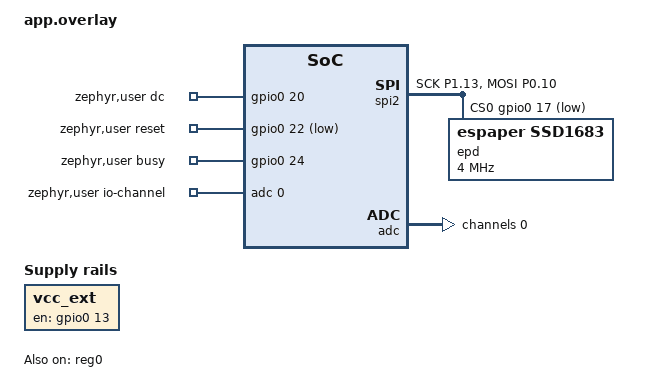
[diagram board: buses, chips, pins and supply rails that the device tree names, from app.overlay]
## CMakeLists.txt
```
cmake_minimum_required(VERSION 3.20.0)

find_package(Zephyr REQUIRED HINTS $ENV{ZEPHYR_BASE})
project(espaper_nrf)

target_sources(app PRIVATE
  src/main.cpp
  src/ble.c
  src/epd.c
  src/miniz/miniz.c
  src/image_receiver.cpp
  src/crc32.cpp
)
target_include_directories(app PRIVATE src src/miniz)

# miniz is here for tinfl only; everything else is compiled out.
target_compile_definitions(app PRIVATE
  MINIZ_NO_DEFLATE_APIS
  MINIZ_NO_ARCHIVE_APIS
  MINIZ_NO_ZLIB_APIS
  MINIZ_NO_STDIO
  MINIZ_NO_TIME
  MINIZ_NO_MALLOC
)
```

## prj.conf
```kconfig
CONFIG_CPP=y
CONFIG_STD_CPP17=y
CONFIG_MAIN_STACK_SIZE=4096
# The Adafruit bootloader takes UF2 files; the base board variant does not emit one by itself.
CONFIG_BUILD_OUTPUT_UF2=y

CONFIG_GPIO=y
CONFIG_SPI=y
CONFIG_FLASH=y
CONFIG_REGULATOR=y
# Panel power before the SPI driver (priority 50) drives CS high, and after
# GPIO (40): a line driven high into an unpowered SSD1683 back-powers it.
CONFIG_REGULATOR_FIXED_INIT_PRIORITY=45
# epd.c suspends the SPIM between refreshes, releasing SCK/MOSI with the panel's supply.
CONFIG_PM_DEVICE=y
CONFIG_HWINFO=y
CONFIG_ADC=y

CONFIG_BT=y
CONFIG_BT_PERIPHERAL=y
CONFIG_BT_MAX_CONN=1
CONFIG_BT_DEVICE_NAME="EPaper-BLE"
# ATT MTU = min(BUF_ACL_RX_SIZE - 4, L2CAP_TX_MTU) = 256, what the clients ask for.
CONFIG_BT_L2CAP_TX_MTU=256
CONFIG_BT_BUF_ACL_RX_SIZE=260
CONFIG_BT_BUF_ACL_TX_SIZE=251
CONFIG_BT_CTLR_DATA_LENGTH_MAX=251
# nRF52840 ceiling.
CONFIG_BT_CTLR_TX_PWR_PLUS_8=y

# Release build: no USB. The board's CDC ACM console enables USB at boot, and
# the nRF USB driver then holds the 32 MHz crystal even on battery. debug.conf
# turns it back on for the bench.
CONFIG_BOARD_SERIAL_BACKEND_CDC_ACM=n
CONFIG_USB_DEVICE_STACK_NEXT=n

# This board has the 32 kHz crystal. On one without it bt_enable() never
# returns with XTAL selected; switch back to CONFIG_CLOCK_CONTROL_NRF_K32SRC_RC=y
# then. The crystal removes the RC calibration (HFXO on every 4 s) and lets the
# controller assume 50 ppm instead of 500 for its receive windows.
CONFIG_CLOCK_CONTROL_NRF_K32SRC_XTAL=y
```

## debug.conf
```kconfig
# ./build.sh debug -- console on the USB CDC ACM port. Holds the HFXO on, so not
# for battery measurements.
CONFIG_BOARD_SERIAL_BACKEND_CDC_ACM=y
CONFIG_USB_DEVICE_STACK_NEXT=y
CONFIG_SERIAL=y
CONFIG_CONSOLE=y
CONFIG_UART_CONSOLE=y
```

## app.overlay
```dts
/*
 * Pro Micro nRF52840 (nice!nano v2 pinout) driving the SSD1683 panel.
 *
 *   SCK  P1.13  D15      CS   P0.17  D2      RST  P0.22  D4
 *   MOSI P0.10  D16      DC   P0.20  D3      BUSY P0.24  D5
 *   VCC pin, switched by P0.13
 *
 * None of these are touched by the Adafruit bootloader (LED P0.15, RST P0.18)
 * and the board's own UART pins (P0.06/P0.08) stay free. P0.10 is uart0's RX
 * in the board DTS, hence uart0 off; the console is USB CDC when enabled.
 */

#include <zephyr/dt-bindings/adc/nrf-saadc.h>
#include <zephyr/dt-bindings/regulator/nrf5x.h>

/*
 * Flash, as the Adafruit UF2 bootloader (0.6.0, no SoftDevice) lays it out:
 * MBR at 0, application from 0x1000 (CONFIG_FLASH_LOAD_OFFSET, set by the
 * board), bootloader from 0xF4000. The board's default table is MCUboot's and
 * puts storage at 0xF8000, inside the bootloader, so it is replaced. UF2 blocks
 * above 0xAD000 are refused by that bootloader, which bounds the application.
 */
/ {
	chosen {
		zephyr,code-partition = &code_partition;
	};
};

/delete-node/ &boot_partition;
/delete-node/ &slot0_partition;
/delete-node/ &slot1_partition;
/delete-node/ &storage_partition;

&flash0 {
	partitions {
		code_partition: partition@1000 {
			label = "application";
			reg = <0x00001000 0x000ac000>;
		};

		/* One page holds the "painted" flag; see main.cpp. */
		storage_partition: partition@ec000 {
			label = "storage";
			reg = <0x000ec000 0x00008000>;
		};
	};
};

/ {
	zephyr,user {
		dc-gpios = <&gpio0 20 GPIO_ACTIVE_HIGH>;
		reset-gpios = <&gpio0 22 GPIO_ACTIVE_LOW>;
		busy-gpios = <&gpio0 24 GPIO_ACTIVE_HIGH>;
		io-channels = <&adc 0>;
	};

	/*
	 * The VCC header pin is behind a switch on P0.13; on means the panel has
	 * power. On at boot, then epd.c powers the panel only while painting it;
	 * startup-delay-us is the wait it gives after switching on.
	 */
	vcc_ext: regulator-vcc-ext {
		compatible = "regulator-fixed";
		regulator-name = "vcc-ext";
		enable-gpios = <&gpio0 13 GPIO_ACTIVE_HIGH>;
		regulator-boot-on;
		startup-delay-us = <20000>;
	};
};

&pinctrl {
	spi2_epd_default: spi2_epd_default {
		group1 {
			psels = <NRF_PSEL(SPIM_SCK, 1, 13)>,
				<NRF_PSEL(SPIM_MOSI, 0, 10)>;
		};
	};

	spi2_epd_sleep: spi2_epd_sleep {
		group1 {
			psels = <NRF_PSEL(SPIM_SCK, 1, 13)>,
				<NRF_PSEL(SPIM_MOSI, 0, 10)>;
			low-power-enable;
		};
	};
};

/*
 * EasyDMA SPIM rather than the board's byte-interrupt SPI, so a 15 kB plane is
 * one transfer. Chip select must be declared here as cs-gpios with a child
 * device: Zephyr compiles GPIO chip-select support out entirely unless some SPI
 * controller node carries cs-gpios.
 */
&spi2 {
	compatible = "nordic,nrf-spim";
	status = "okay";
	pinctrl-0 = <&spi2_epd_default>;
	pinctrl-1 = <&spi2_epd_sleep>;
	pinctrl-names = "default", "sleep";
	cs-gpios = <&gpio0 17 GPIO_ACTIVE_LOW>;

	epd: epd@0 {
		compatible = "espaper,ssd1683";
		reg = <0>;
		spi-max-frequency = <4000000>;
	};
};

/*
 * Battery: on nice!nano v2 clones B+ goes straight to VDDH (REG0 makes the
 * 3.3 V), so VDDH/5 against the 0.6 V reference at gain 1/6 (3.6 V full scale)
 * reads it with no external divider.
 */
&adc {
	#address-cells = <1>;
	#size-cells = <0>;
	status = "okay";

	channel@0 {
		reg = <0>;
		zephyr,gain = "ADC_GAIN_1_6";
		zephyr,reference = "ADC_REF_INTERNAL";
		zephyr,acquisition-time = <ADC_ACQ_TIME_DEFAULT>;
		zephyr,input-positive = <NRF_SAADC_VDDHDIV5>;
		zephyr,resolution = <12>;
		zephyr,oversampling = <4>;
	};
};

/*
 * Both DC/DC stages on: REG1 (VDD -> core/radio) roughly halves the radio's
 * battery current, REG0 (VDDH -> VDD) saves another 10-20 % with the battery on
 * VDDH. Each needs its inductor on the board (DCC for REG1, DCCH for REG0);
 * without it the app does not run. Recover with a double-tap on RST (the
 * bootloader runs before this takes effect) and drop the stage that lacks it.
 * Zephyr's soc.c reads these at boot: reg1's mode, reg0's status.
 */
&reg1 {
	regulator-initial-mode = <NRF5X_REG_MODE_DCDC>;
};

&reg0 {
	status = "okay";
};

&uart0 {
	status = "disabled";
};

&i2c0 {
	status = "disabled";
};

&i2c1 {
	status = "disabled";
};

&pwm0 {
	status = "disabled";
};

&ieee802154 {
	status = "disabled";
};
```

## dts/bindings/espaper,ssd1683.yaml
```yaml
description: SSD1683 e-paper controller, driven directly over SPI by the espaper firmware

compatible: "espaper,ssd1683"

include: spi-device.yaml
```

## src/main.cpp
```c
// Battery-powered BLE e-paper display on a Pro Micro nRF52840 driving a 400x300
// SSD1683 panel.
//
// It advertises all the time, slowly, instead of a 2 s burst every 60 s with
// deep sleep in between: the SoftDevice Controller sleeps the CPU and the crystal
// between advert events, so an advert costs only its ~25 uC and the rest is
// System ON idle at a few uA. Continuous 2 s adverts are ~16 uA average, less
// than a 4 s window every minute would cost, and the panel is connectable at
// any moment instead of for 3 % of the time. main() runs once, forever.

#include <zephyr/drivers/flash.h>
#include <zephyr/drivers/hwinfo.h>
#include <zephyr/kernel.h>
#include <zephyr/storage/flash_map.h>
#include <zephyr/sys/printk.h>
#include <nrfx.h>

#include "ble.h"
#include "config.h"
#include "epd.h"
#include "image_receiver.h"

static ImageReceiver s_rx;
static volatile bool s_clearRequested;

// --- the receiver, as seen from the Bluetooth RX thread ----------------------

extern "C" void rx_ctrl(const uint8_t *payload, size_t len)
{
  if (len < 1)
  {
    s_rx.setState(STATE_ERROR, ERR_BAD_LENGTH);
    return;
  }
  switch (payload[0])
  {
    case OP_BEGIN: s_rx.begin(payload, len); break;
    case OP_COMMIT: s_rx.commit(); break;
    case OP_ABORT: s_rx.abort(); break;
    case OP_CLEAR:
      // The panel is only ever touched from the main thread.
      s_rx.abort();
      s_rx.setState(STATE_RENDERING, ERR_NONE);
      s_clearRequested = true;
      break;
    default: s_rx.setState(STATE_ERROR, ERR_BAD_MAGIC); break;
  }
}

extern "C" int rx_data(const uint8_t *payload, size_t len)
{
  return s_rx.data(payload, len) == ERR_NONE ? 0 : -1;
}

extern "C" void rx_status(uint8_t out[6])
{
  const uint32_t received = s_rx.received();
  out[0] = uint8_t(s_rx.state());
  out[1] = uint8_t(s_rx.error());
  out[2] = uint8_t(received & 0xFF);
  out[3] = uint8_t((received >> 8) & 0xFF);
  out[4] = uint8_t((received >> 16) & 0xFF);
  out[5] = uint8_t((received >> 24) & 0xFF);
}

// --- the "painted" flag --------------------------------------------------------

// Whether this device has ever been given an image, so a reset, a reflash or a
// battery swap never repaints the splash over what the panel is showing. One
// word at the start of the storage partition, written once in the device's
// life; the NVS subsystem would be a lot of code for a single bit.
static const uint32_t PAINTED_MAGIC = 0x44544E50;  // "PNTD"
static const struct device *const s_flash = FIXED_PARTITION_DEVICE(storage_partition);
static const off_t s_flagOffset = FIXED_PARTITION_OFFSET(storage_partition);
static bool s_everPainted;

static bool readPainted()
{
  uint32_t value = 0;
  return flash_read(s_flash, s_flagOffset, &value, sizeof(value)) == 0 && value == PAINTED_MAGIC;
}

static void markPainted()
{
  if (s_everPainted)
  {
    return;
  }
  flash_erase(s_flash, s_flagOffset, 4096);  // one nRF52 page
  flash_write(s_flash, s_flagOffset, &PAINTED_MAGIC, sizeof(PAINTED_MAGIC));
  s_everPainted = true;
}

// --- one connection --------------------------------------------------------------

// Returns when the session is over: rendered, cleared, timed out or dropped.
static void serveSession()
{
  while (ble_connected())
  {
    if (s_clearRequested)
    {
      s_clearRequested = false;
      printk("clear\n");
      epd_clear();
      markPainted();  // a deliberate blank must not bring the splash back
      s_rx.setState(STATE_DONE, ERR_NONE);
      ble_publish_status();
      return;
    }

    if (s_rx.complete())
    {
      // The CRC pass, the inflate and the refresh all belong here, never in a
      // GATT callback.
      ble_publish_status();
      const XferError error = s_rx.verify();
      if (error != ERR_NONE)
      {
        printk("verify failed: error %d\n", int(error));
        s_rx.setState(STATE_ERROR, error);
        ble_publish_status();
        continue;  // stay connected so the client can retry with a fresh BEGIN
      }
      printk("rendering %u bytes, %d colours%s\n", unsigned(s_rx.frameLength()),
             s_rx.gray4() ? 4 : 2, s_rx.deflated() ? " (deflate)" : "");
      s_rx.setState(STATE_RENDERING);
      ble_publish_status();
      if (s_rx.gray4())
      {
        epd_render_gray4(s_rx.frame());
      }
      else
      {
        epd_render_1bpp(s_rx.frame(), s_rx.inverted());
      }
      markPainted();
      s_rx.setState(STATE_DONE);
      ble_publish_status();
      printk("rendered\n");
      return;
    }

    // A client that connects and then stalls would otherwise hold the radio on
    // until the battery dies.
    const int64_t idle = k_uptime_get() - ble_last_activity();
    if (idle > SESSION_TIMEOUT_MS)
    {
      printk("session idle in state %d, dropping\n", int(s_rx.state()));
      s_rx.setState(STATE_ERROR, ERR_INCOMPLETE);
      ble_publish_status();
      return;
    }
    ble_wait(uint32_t(SESSION_TIMEOUT_MS - idle));
  }
}

int main()
{
  // Why we are here. Read before anything can reset again: a reset every boot
  // is invisible without it. The bits are Zephyr's RESET_* flags (pin 1,
  // software 2, brownout 4, POR 8, watchdog 16, debug 32, ... lockup 256).
  uint32_t cause = 0;
  hwinfo_get_reset_cause(&cause);
  hwinfo_clear_reset_cause();
  printk("\nboot, reset cause 0x%x, UICR NFCPINS %08x PSELRESET %08x %08x, "
         "advertising every %u-%u ms\n",
         unsigned(cause), unsigned(NRF_UICR->NFCPINS), unsigned(NRF_UICR->PSELRESET[0]),
         unsigned(NRF_UICR->PSELRESET[1]), unsigned(ADV_INTERVAL_MIN * 5 / 8),
         unsigned(ADV_INTERVAL_MAX * 5 / 8));

  s_everPainted = readPainted();
  if (epd_init() != 0)
  {
    printk("epd: bus or pins not ready\n");
  }

  // Geometry and protocol version, so the client need not hardcode them. bpp is
  // the deepest mode accepted, selected per frame by BEGIN's FLAG_GRAY4.
  const uint8_t info[8] = {
      PROTOCOL_VERSION,
      uint8_t(PANEL_WIDTH & 0xFF),
      uint8_t(PANEL_WIDTH >> 8),
      uint8_t(PANEL_HEIGHT & 0xFF),
      uint8_t(PANEL_HEIGHT >> 8),
      2,
      uint8_t(DEEP_SLEEP_SECONDS & 0xFF),
      uint8_t(DEEP_SLEEP_SECONDS >> 8),
  };
  const int err = ble_begin(DEVICE_NAME, ADV_INTERVAL_MIN, ADV_INTERVAL_MAX, info);
  if (err != 0)
  {
    printk("bt_enable failed: %d\n", err);
    return 0;
  }

  if (!s_everPainted)
  {
    // Only ever shown on a device that has not been sent an image yet.
    epd_splash(DEVICE_NAME "\nready\n \nsend an image");
  }

  ble_update_battery();
  int64_t nextBattery = k_uptime_get() + BATTERY_PERIOD_MS;
  while (true)
  {
    s_rx.abort();
    s_clearRequested = false;
    // BT_LE_ADV_OPT_CONN does not restart after a disconnect, hence every loop.
    // A failure here would otherwise be a silent, radio-off "not found".
    const int adv = ble_adv_start();
    if (adv != 0)
    {
      printk("adv start failed: %d\n", adv);
      k_sleep(K_SECONDS(5));
      continue;
    }

    // Only a connection ends the wait; the timeout is the battery's cadence.
    // Never measured mid-session, so a panel refresh does not sag the reading.
    while (!ble_connected())
    {
      const int64_t now = k_uptime_get();
      if (now >= nextBattery)
      {
        ble_update_battery();
        nextBattery = now + BATTERY_PERIOD_MS;
      }
      ble_wait(uint32_t(nextBattery - now));
    }

    serveSession();
    // Give the last status notification time to reach the client before the
    // link goes away.
    k_msleep(NOTIFY_FLUSH_MS);
    ble_disconnect();
    for (int i = 0; i < 20 && ble_connected(); i++)
    {
      ble_wait(100);
    }
    epd_sleep();
  }
  return 0;
}
```

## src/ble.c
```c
#include "ble.h"

#include <string.h>
#include <zephyr/bluetooth/bluetooth.h>
#include <zephyr/bluetooth/conn.h>
#include <zephyr/bluetooth/gatt.h>
#include <zephyr/bluetooth/uuid.h>
#include <zephyr/drivers/adc.h>
#include <zephyr/kernel.h>
#include <zephyr/sys/byteorder.h>

// The same UUIDs as SVC_UUID_IMAGE and friends in config.h. Zephyr's
// static GATT table needs them as numbers, so this is the one place the
// protocol is copied rather than shared; change both.
#define EPAPER_UUID(w16) \
  BT_UUID_128_ENCODE(0x69770000u | (w16), 0xb271, 0x453a, 0xa64d, 0xcb31cec14bee)

static const struct bt_uuid_128 s_svc_uuid = BT_UUID_INIT_128(EPAPER_UUID(0x0000));
#define CHR_CTRL BT_UUID_DECLARE_128(EPAPER_UUID(0x0001))
#define CHR_DATA BT_UUID_DECLARE_128(EPAPER_UUID(0x0002))
#define CHR_STATUS BT_UUID_DECLARE_128(EPAPER_UUID(0x0003))
#define CHR_INFO BT_UUID_DECLARE_128(EPAPER_UUID(0x0004))

static K_SEM_DEFINE(s_event, 0, 1);
static struct bt_conn *s_conn;
static volatile bool s_connected;
static int64_t s_last_activity;
static uint8_t s_info[8];
static struct bt_le_adv_param s_adv_param;
static struct bt_data s_sd[1];

static void touch(void)
{
  s_last_activity = k_uptime_get();
  k_sem_give(&s_event);
}

static ssize_t write_ctrl(struct bt_conn *conn, const struct bt_gatt_attr *attr,
                          const void *buf, uint16_t len, uint16_t offset, uint8_t flags)
{
  if (offset != 0)
  {
    return BT_GATT_ERR(BT_ATT_ERR_INVALID_OFFSET);
  }
  rx_ctrl(buf, len);
  ble_publish_status();
  touch();
  return len;
}

static ssize_t write_data(struct bt_conn *conn, const struct bt_gatt_attr *attr,
                          const void *buf, uint16_t len, uint16_t offset, uint8_t flags)
{
  if (offset != 0)
  {
    return BT_GATT_ERR(BT_ATT_ERR_INVALID_OFFSET);
  }
  if (rx_data(buf, len) != 0)
  {
    // Only report failures; notifying on every chunk would flood the link.
    ble_publish_status();
  }
  touch();
  return len;
}

static ssize_t read_status(struct bt_conn *conn, const struct bt_gatt_attr *attr, void *buf,
                           uint16_t len, uint16_t offset)
{
  uint8_t value[6];
  rx_status(value);
  return bt_gatt_attr_read(conn, attr, buf, len, offset, value, sizeof(value));
}

static ssize_t read_info(struct bt_conn *conn, const struct bt_gatt_attr *attr, void *buf,
                         uint16_t len, uint16_t offset)
{
  return bt_gatt_attr_read(conn, attr, buf, len, offset, s_info, sizeof(s_info));
}

BT_GATT_SERVICE_DEFINE(
    s_svc,
    BT_GATT_PRIMARY_SERVICE(&s_svc_uuid),
    BT_GATT_CHARACTERISTIC(CHR_CTRL, BT_GATT_CHRC_WRITE | BT_GATT_CHRC_WRITE_WITHOUT_RESP,
                           BT_GATT_PERM_WRITE, NULL, write_ctrl, NULL),
    BT_GATT_CHARACTERISTIC(CHR_DATA, BT_GATT_CHRC_WRITE | BT_GATT_CHRC_WRITE_WITHOUT_RESP,
                           BT_GATT_PERM_WRITE, NULL, write_data, NULL),
    BT_GATT_CHARACTERISTIC(CHR_STATUS, BT_GATT_CHRC_READ | BT_GATT_CHRC_NOTIFY, BT_GATT_PERM_READ,
                           read_status, NULL, NULL),
    BT_GATT_CCC(NULL, BT_GATT_PERM_READ | BT_GATT_PERM_WRITE),
    BT_GATT_CHARACTERISTIC(CHR_INFO, BT_GATT_CHRC_READ, BT_GATT_PERM_READ, read_info, NULL, NULL));

// Index of the STATUS value attribute in the table above: service, then two
// attributes per characteristic.
#define STATUS_ATTR (&s_svc.attrs[6])

static void on_connected(struct bt_conn *conn, uint8_t err)
{
  if (err != 0)
  {
    return;
  }
  s_conn = bt_conn_ref(conn);
  s_connected = true;
  touch();
}

static void on_disconnected(struct bt_conn *conn, uint8_t reason)
{
  if (s_conn != NULL)
  {
    bt_conn_unref(s_conn);
    s_conn = NULL;
  }
  s_connected = false;
  k_sem_give(&s_event);
}

BT_CONN_CB_DEFINE(s_conn_cbs) = {
    .connected = on_connected,
    .disconnected = on_disconnected,
};

// Manufacturer data: company 0xFFFF (testing), magic "EP", advert version 1,
// then battery mV (u16). Change custom_components/espaper/epaper.py and
// tools/epaper_push.py with it.
static uint8_t s_mfg[7] = {0xFF, 0xFF, 'E', 'P', 1};

// Flags, the 128-bit UUID and the manufacturer data take 30 of the advert's 31
// bytes, so the name goes into the scan response.
static const struct bt_data s_ad[] = {
    BT_DATA_BYTES(BT_DATA_FLAGS, BT_LE_AD_GENERAL | BT_LE_AD_NO_BREDR),
    BT_DATA_BYTES(BT_DATA_UUID128_ALL, EPAPER_UUID(0x0000)),
    BT_DATA(BT_DATA_MANUFACTURER_DATA, s_mfg, sizeof(s_mfg)),
};

static const struct adc_dt_spec s_vbat = ADC_DT_SPEC_GET_BY_IDX(DT_PATH(zephyr_user), 0);

int ble_begin(const char *name, uint16_t adv_min, uint16_t adv_max, const uint8_t info[8])
{
  memcpy(s_info, info, sizeof(s_info));
  s_adv_param = (struct bt_le_adv_param)BT_LE_ADV_PARAM_INIT(BT_LE_ADV_OPT_CONN, adv_min, adv_max, NULL);
  s_sd[0].type = BT_DATA_NAME_COMPLETE;
  s_sd[0].data_len = strlen(name);
  s_sd[0].data = (const uint8_t *)name;
  return bt_enable(NULL);
}

int ble_adv_start(void)
{
  touch();
  return bt_le_adv_start(&s_adv_param, s_ad, ARRAY_SIZE(s_ad), s_sd, ARRAY_SIZE(s_sd));
}

void ble_update_battery(void)
{
  static bool s_ready;
  static unsigned s_reads;
  if (!s_ready)
  {
    s_ready = adc_channel_setup_dt(&s_vbat) == 0;
  }
  int16_t raw = 0;
  // Offset calibration on the first read and every 10th after: it drifts with
  // temperature, and once a minute would be wasted.
  struct adc_sequence seq = {
      .buffer = &raw, .buffer_size = sizeof(raw), .calibrate = s_reads++ % 10 == 0};
  adc_sequence_init_dt(&s_vbat, &seq);
  if (!s_ready || adc_read_dt(&s_vbat, &seq) != 0)
  {
    return;
  }
  int32_t mv = raw;
  adc_raw_to_millivolts_dt(&s_vbat, &mv);
  sys_put_le16((uint16_t)CLAMP(mv * 5, 0, UINT16_MAX), &s_mfg[5]);  // VDDH/5
  // Not advertising (connected, or not started yet) fails harmlessly: the next
  // ble_adv_start() carries the new value.
  bt_le_adv_update_data(s_ad, ARRAY_SIZE(s_ad), s_sd, ARRAY_SIZE(s_sd));
}

bool ble_connected(void)
{
  return s_connected;
}

void ble_disconnect(void)
{
  if (s_conn != NULL)
  {
    bt_conn_disconnect(s_conn, BT_HCI_ERR_REMOTE_USER_TERM_CONN);
  }
}

bool ble_wait(uint32_t timeout_ms)
{
  return k_sem_take(&s_event, K_MSEC(timeout_ms)) == 0;
}

int64_t ble_last_activity(void)
{
  return s_last_activity;
}

void ble_publish_status(void)
{
  if (s_conn == NULL)
  {
    return;
  }
  uint8_t value[6];
  rx_status(value);
  // -ENOTCONN if the client never subscribed; it can still read STATUS.
  bt_gatt_notify(s_conn, STATUS_ATTR, value, sizeof(value));
}
```

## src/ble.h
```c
// Vendor GATT server for image push, Zephyr side.
//
// GATT callbacks run on the Bluetooth RX thread and must not block, so they do
// nothing heavier than handing the bytes to the receiver and setting a flag.
// The main thread waits on ble_wait() and does the CRC pass, the panel refresh
// and the sleeping.

#pragma once

#include <stdbool.h>
#include <stddef.h>
#include <stdint.h>

#ifdef __cplusplus
extern "C" {
#endif

// Brings the stack up. `info` is the 8-byte INFO value, copied. Returns 0 or a
// negative errno from bt_enable().
int ble_begin(const char *name, uint16_t adv_min, uint16_t adv_max, const uint8_t info[8]);

// Starts advertising until a connection; BT_LE_ADV_OPT_CONN does not restart
// it after a disconnect, so the caller does. Returns bt_le_adv_start()'s errno.
int ble_adv_start(void);

// Reads the battery (VDDH/5 on the SAADC) into the advert's manufacturer data.
// Main thread only.
void ble_update_battery(void);

bool ble_connected(void);
void ble_disconnect(void);

// Blocks until a GATT write or connection event, or the timeout. Returns true
// if an event arrived.
bool ble_wait(uint32_t timeout_ms);

// k_uptime of the last GATT write or connection, for the session watchdog.
int64_t ble_last_activity(void);

// Pushes the receiver's state to STATUS and notifies a subscribed client.
void ble_publish_status(void);

// Implemented by main.cpp around the shared ImageReceiver; called from the
// Bluetooth RX thread. rx_data returns non-zero on failure so the caller can
// notify only then.
void rx_ctrl(const uint8_t *payload, size_t len);
int rx_data(const uint8_t *payload, size_t len);
void rx_status(uint8_t out[6]);

#ifdef __cplusplus
}
#endif
```

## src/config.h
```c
// Compile-time configuration for the BLE e-paper display.

#pragma once

#include <stddef.h>
#include <stdint.h>

// Panel wiring is in app.overlay.

// ---------------------------------------------------------------------------
// Panel geometry. The GDEY042T81 is natively 400x300 landscape, so a packed
// 1bpp frame is exactly 50 bytes per row x 300 rows = 15000 bytes.
// ---------------------------------------------------------------------------
static const uint16_t PANEL_WIDTH  = 400;
static const uint16_t PANEL_HEIGHT = 300;
static const uint16_t PANEL_STRIDE = (PANEL_WIDTH + 7) / 8;
static const uint32_t PANEL_FRAME_BYTES = uint32_t(PANEL_STRIDE) * PANEL_HEIGHT;

// The same panel in 4-level greyscale: 2 bits per pixel, so 100 bytes per row
// and 30000 for a frame. Whether a panel can do this at all depends on its
// film, not the controller; see the "Grayscale" section of README.md.
static const uint16_t PANEL_STRIDE_GRAY4 = PANEL_WIDTH / 4;
static const uint32_t PANEL_FRAME_BYTES_GRAY4 = uint32_t(PANEL_STRIDE_GRAY4) * PANEL_HEIGHT;

// ---------------------------------------------------------------------------
// Advertising. Continuous, connectable, every 2 s (0.625 ms units):
// the SoftDevice Controller sleeps the CPU and the crystal between events, so
// only the events cost; see the top of main.cpp.
// ---------------------------------------------------------------------------
static const uint16_t ADV_INTERVAL_MIN = 3200;
static const uint16_t ADV_INTERVAL_MAX = 3200;

// Reported in INFO as sleep_seconds, the client's hint for how long the panel
// may go unheard. There is no sleep any more; the field is kept for the wire.
static const uint32_t DEEP_SLEEP_SECONDS  = 60;

// How often the battery is measured into the advert, while idle.
static const uint32_t BATTERY_PERIOD_MS = 60000;

// A client that connects and then stalls would otherwise hold the session
// open forever.
static const uint32_t SESSION_TIMEOUT_MS = 60000;

// Grace period after the final status notification so it reaches the client
// before we tear the link down.
static const uint32_t NOTIFY_FLUSH_MS = 300;

// ---------------------------------------------------------------------------
// GAP / GATT identity. Vendor-specific 128-bit UUIDs; no manufacturer data.
// ---------------------------------------------------------------------------
#define DEVICE_NAME "EPaper-BLE"

#define SVC_UUID_IMAGE  "69770000-b271-453a-a64d-cb31cec14bee"
#define CHR_UUID_CTRL   "69770001-b271-453a-a64d-cb31cec14bee"
#define CHR_UUID_DATA   "69770002-b271-453a-a64d-cb31cec14bee"
#define CHR_UUID_STATUS "69770003-b271-453a-a64d-cb31cec14bee"
#define CHR_UUID_INFO   "69770004-b271-453a-a64d-cb31cec14bee"

// ---------------------------------------------------------------------------
// Wire protocol. Kept in one place so the Python client and the firmware
// cannot drift apart.
// ---------------------------------------------------------------------------
static const uint8_t PROTOCOL_VERSION = 1;

// BEGIN header magic, "EPD1".
static const uint8_t PROTO_MAGIC[4] = {'E', 'P', 'D', '1'};

enum CtrlOpcode : uint8_t
{
  OP_BEGIN  = 0x01,
  OP_COMMIT = 0x02,
  OP_ABORT  = 0x03,
  OP_CLEAR  = 0x04,
};

// BEGIN payload: opcode | magic[4] | ver | flags | w u16 | h u16 | len u32 | crc32 u32
static const size_t BEGIN_PAYLOAD_LEN = 19;

// DATA payload: offset u32 | bytes...
static const size_t DATA_HEADER_LEN = 4;

// BEGIN flags.
static const uint8_t FLAG_INVERTED = 1 << 0;  // a set bit means white, not black
static const uint8_t FLAG_GRAY4    = 1 << 1;  // 4 colours (2bpp), not 2 (1bpp)
// DATA carries a zlib stream of the frame rather than the frame itself, so the
// BEGIN len and crc32 describe the compressed bytes. The uncompressed size is
// whatever FLAG_GRAY4 implies, so the header needs no second length field.
static const uint8_t FLAG_DEFLATE  = 1 << 2;

enum XferState : uint8_t
{
  STATE_IDLE      = 0,
  STATE_RECEIVING = 1,
  STATE_VERIFYING = 2,
  STATE_RENDERING = 3,
  STATE_DONE      = 4,
  STATE_ERROR     = 5,
};

enum XferError : uint8_t
{
  ERR_NONE          = 0,
  ERR_BAD_MAGIC     = 1,
  ERR_BAD_VERSION   = 2,
  ERR_BAD_GEOMETRY  = 3,
  ERR_BAD_LENGTH    = 4,
  ERR_CRC_MISMATCH  = 5,
  ERR_OVERFLOW      = 6,
  ERR_NO_SESSION    = 7,
  ERR_NO_MEMORY     = 8,
  ERR_INCOMPLETE    = 9,
  ERR_INFLATE       = 10,
};
```

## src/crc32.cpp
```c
#include "crc32.h"

// Nibble-at-a-time table: 64 bytes of flash instead of the usual 1 kB, and
// still fast enough to verify a 15 kB frame in a couple of milliseconds.
static const uint32_t kCrcTable[16] = {
    0x00000000, 0x1DB71064, 0x3B6E20C8, 0x26D930AC,
    0x76DC4190, 0x6B6B51F4, 0x4DB26158, 0x5005713C,
    0xEDB88320, 0xF00F9344, 0xD6D6A3E8, 0xCB61B38C,
    0x9B64C2B0, 0x86D3D2D4, 0xA00AE278, 0xBDBDF21C,
};

uint32_t crc32Update(uint32_t crc, const uint8_t *data, size_t len)
{
  crc = ~crc;
  while (len--)
  {
    crc ^= *data++;
    crc = (crc >> 4) ^ kCrcTable[crc & 0x0F];
    crc = (crc >> 4) ^ kCrcTable[crc & 0x0F];
  }
  return ~crc;
}
```

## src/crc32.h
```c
// Reflected CRC-32 (poly 0xEDB88320), byte-for-byte compatible with Python's
// zlib.crc32 so the client can compute the expected value with the standard
// library.

#pragma once

#include <stddef.h>
#include <stdint.h>

// Running CRC over a stream. Seed the first call with 0.
uint32_t crc32Update(uint32_t crc, const uint8_t *data, size_t len);

// One-shot convenience wrapper.
inline uint32_t crc32(const uint8_t *data, size_t len)
{
  return crc32Update(0, data, len);
}
```

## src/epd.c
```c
#include "epd.h"

#include <string.h>
#include <zephyr/drivers/gpio.h>
#include <zephyr/drivers/regulator.h>
#include <zephyr/drivers/spi.h>
#include <zephyr/kernel.h>
#include <zephyr/pm/device.h>
#include <zephyr/sys/printk.h>

#include "epd_gray_lut.h"
#include "font5x7.h"

#define PANEL_WIDTH 400
#define PANEL_HEIGHT 300
#define FRAME_1BPP (PANEL_WIDTH / 8 * PANEL_HEIGHT)   // 15000
#define FRAME_2BPP (PANEL_WIDTH / 4 * PANEL_HEIGHT)   // 30000

#define BUSY_TIMEOUT_MS 10000

static const struct spi_dt_spec s_spi =
    SPI_DT_SPEC_GET(DT_NODELABEL(epd), SPI_OP_MODE_MASTER | SPI_WORD_SET(8) | SPI_TRANSFER_MSB);
static const struct gpio_dt_spec s_dc = GPIO_DT_SPEC_GET(DT_PATH(zephyr_user), dc_gpios);
static const struct gpio_dt_spec s_rst = GPIO_DT_SPEC_GET(DT_PATH(zephyr_user), reset_gpios);
static const struct gpio_dt_spec s_busy = GPIO_DT_SPEC_GET(DT_PATH(zephyr_user), busy_gpios);
static const struct device *const s_vcc = DEVICE_DT_GET(DT_NODELABEL(vcc_ext));
#define VCC_STARTUP_MS (DT_PROP(DT_NODELABEL(vcc_ext), startup_delay_us) / 1000)

// One 1bpp plane, in RAM because EasyDMA cannot read flash. It is the splash
// framebuffer, the inverted copy of a 1bpp frame, and each 2bpp plane in turn.
static uint8_t s_plane[FRAME_1BPP];
static bool s_awake;

// --- bus ------------------------------------------------------------------

static void xfer(const uint8_t *buf, size_t len)
{
  const struct spi_buf b = {.buf = (void *)buf, .len = len};
  const struct spi_buf_set set = {.buffers = &b, .count = 1};
  spi_write_dt(&s_spi, &set);  // CS is held for the whole buffer
}

static void cmd(uint8_t c)
{
  gpio_pin_set_dt(&s_dc, 0);
  xfer(&c, 1);
}

static void data(const uint8_t *buf, size_t len)
{
  gpio_pin_set_dt(&s_dc, 1);
  xfer(buf, len);
}

// Command followed by up to four data bytes.
static void cmdn(uint8_t c, const uint8_t *d, size_t n)
{
  uint8_t copy[4];
  memcpy(copy, d, n);
  cmd(c);
  data(copy, n);
}
#define CMD(c, ...) cmdn((c), (const uint8_t[]){__VA_ARGS__}, sizeof((const uint8_t[]){__VA_ARGS__}))

// BUSY is high while the controller is working. Bounded: a panel that never
// releases BUSY must not hold a battery-powered board awake.
static bool wait_busy(void)
{
  const int64_t start = k_uptime_get();
  while (gpio_pin_get_dt(&s_busy) > 0)
  {
    if (k_uptime_get() - start > BUSY_TIMEOUT_MS)
    {
      printk("epd: BUSY timeout\n");
      return false;
    }
    k_msleep(10);
  }
  return true;
}

// --- power ------------------------------------------------------------------

// The panel is unpowered between refreshes: SSD1683 datasheet fig. 9-1 ends a
// refresh with "turn off VCI supply" once BUSY is low, and every paint already
// starts from a hardware reset and a full init. The order is the trap. Its
// inputs are rated -0.5 .. VDDIO+0.5 V, so with VCI off any line held high
// feeds the controller through its ESD diodes (the WeAct module has only 100R
// in series). So: supply first, then drive the lines; let every line go, then
// cut the supply. Released lines are inputs with the buffer disconnected, which
// neither drives the panel nor leaks on the nRF side.
static void power_on(void)
{
  regulator_enable(s_vcc);
  k_msleep(VCC_STARTUP_MS);  // datasheet: 10 ms after VCI
  gpio_pin_configure_dt(&s_spi.config.cs.gpio, GPIO_OUTPUT_INACTIVE);
  gpio_pin_configure_dt(&s_dc, GPIO_OUTPUT_INACTIVE);
  gpio_pin_configure_dt(&s_rst, GPIO_OUTPUT_INACTIVE);  // inactive = not in reset
  gpio_pin_configure_dt(&s_busy, GPIO_INPUT);
  pm_device_action_run(s_spi.bus, PM_DEVICE_ACTION_RESUME);  // SCK, MOSI back
}

static void power_off(void)
{
  // The sleep pinctrl state (low-power-enable) releases SCK and MOSI.
  pm_device_action_run(s_spi.bus, PM_DEVICE_ACTION_SUSPEND);
  gpio_pin_configure_dt(&s_spi.config.cs.gpio, GPIO_DISCONNECTED);
  gpio_pin_configure_dt(&s_dc, GPIO_DISCONNECTED);
  gpio_pin_configure_dt(&s_rst, GPIO_DISCONNECTED);
  gpio_pin_configure_dt(&s_busy, GPIO_DISCONNECTED);
  regulator_disable(s_vcc);
}

// Power, then hardware reset then software reset, waiting out BUSY after each
// -- the two waits GxEPD2 skips and the nRF sketch this was checked against
// does not.
static void wake(void)
{
  power_on();
  gpio_pin_set_dt(&s_rst, 0);
  k_msleep(10);
  gpio_pin_set_dt(&s_rst, 1);
  k_msleep(10);
  gpio_pin_set_dt(&s_rst, 0);
  k_msleep(10);
  wait_busy();
  cmd(0x12);  // SWRESET
  k_msleep(10);
  wait_busy();
  s_awake = true;
}

// Data entry X+ Y+, full window, counters at the origin. Repeated before every
// plane because the counters advance as the plane is written.
static void set_ram_area(void)
{
  CMD(0x11, 0x03);
  CMD(0x44, 0x00, 0x31);              // RAM X range, in bytes: 0..49
  CMD(0x45, 0x00, 0x00, 0x2B, 0x01);  // RAM Y range: 0..299
  CMD(0x4E, 0x00);
  CMD(0x4F, 0x00, 0x00);
}

// --- 1bpp, the controller's own waveform -----------------------------------

// Streams one value into both RAM planes, without a second frame buffer.
static void fill_planes(uint8_t value)
{
  uint8_t chunk[256];
  memset(chunk, value, sizeof(chunk));
  const uint8_t planes[2] = {0x26, 0x24};
  for (int p = 0; p < 2; p++)
  {
    set_ram_area();
    cmd(planes[p]);
    for (uint32_t sent = 0; sent < FRAME_1BPP; sent += sizeof(chunk))
    {
      data(chunk, MIN(sizeof(chunk), FRAME_1BPP - sent));
    }
  }
}

// GxEPD2's _Update_Full: the controller's own waveform, then power off.
static void refresh_full(void)
{
  CMD(0x21, 0x40, 0x00);  // bypass RED
  CMD(0x22, 0xF7);
  cmd(0x20);
  wait_busy();
}

// GxEPD2's GDEY042T81 init. Both RAM planes are written, which is what a clean
// full refresh needs to avoid ghosting.
//
// The clear to white first is not redundant: GxEPD2 runs clearScreen() before
// the first image write after init(), and the original firmware re-initialised
// it on every wake, so the panel always flashed to white and then to the image.
// Same look here.
static void render_planes_1bpp(void)
{
  CMD(0x01, 0x2B, 0x01, 0x00);  // MUX 300
  CMD(0x3C, 0x01);              // border waveform
  CMD(0x18, 0x80);              // internal temperature sensor
  fill_planes(0xFF);
  refresh_full();
  set_ram_area();
  cmd(0x26);
  data(s_plane, FRAME_1BPP);
  set_ram_area();
  cmd(0x24);
  data(s_plane, FRAME_1BPP);
  refresh_full();
  epd_sleep();
}

void epd_render_1bpp(const uint8_t *frame, bool inverted)
{
  wake();
  // The controller's convention is 1 = white; ours is 1 = black unless the
  // sender flagged the image as inverted. Safe when frame == s_plane.
  for (uint32_t i = 0; i < FRAME_1BPP; i++)
  {
    s_plane[i] = inverted ? frame[i] : (uint8_t)~frame[i];
  }
  render_planes_1bpp();
}

void epd_clear(void)
{
  wake();
  CMD(0x01, 0x2B, 0x01, 0x00);
  CMD(0x3C, 0x01);
  CMD(0x18, 0x80);
  fill_planes(0xFF);
  refresh_full();
  epd_sleep();
}

// --- 2bpp, Waveshare's greyscale waveform ------------------------------------

// Waveshare's epd4in2_V2 greyscale init. Loading the LUT replaces the
// panel's built-in monochrome waveform, so greyscale has no temperature
// compensation.
static void init_gray4(void)
{
  uint8_t lut[sizeof(LUT_4GRAY)];
  memcpy(lut, LUT_4GRAY, sizeof(lut));  // EasyDMA needs it in RAM

  CMD(0x21, 0x00, 0x00);              // display update control
  CMD(0x3C, 0x03);                    // border waveform
  CMD(0x0C, 0x8B, 0x9C, 0xA4, 0x0F);  // booster soft start
  cmd(0x32);                          // waveform LUT
  data(lut, 227);
  cmdn(0x3F, lut + 227, 1);
  cmdn(0x03, lut + 228, 1);  // gate voltage
  cmdn(0x04, lut + 229, 3);  // source voltage
  cmdn(0x2C, lut + 232, 1);  // VCOM
  set_ram_area();
  wait_busy();
}

// Packs one 1bpp plane out of the 2bpp frame into s_plane. `high` picks which
// bit of each pixel's level goes into it. The low bit feeds 0x24 and the high
// bit 0x26, which looks backwards and is the one thing Waveshare's own two
// demos disagree about: their Arduino epd4in2_V2 sketch maps the middle codes
// the other way round, their Raspberry Pi EPD_4in2_V2.c the way it is here.
// Only this way are the levels monotonic -- measured on the panel, the other
// mapping paints light grey where dark belongs. Do not "fix" it back.
static void pack_plane(const uint8_t *frame, bool high)
{
  for (uint32_t i = 0, o = 0; i < FRAME_2BPP; i += 2, o++)
  {
    // Inverted on the way out: the controller reads 1 as white, we store 1 as
    // ink, exactly as the 1bpp path does.
    const uint8_t a = (uint8_t)~frame[i];
    const uint8_t b = (uint8_t)~frame[i + 1];
    s_plane[o] = high ? (uint8_t)((grayHighNibble(a) << 4) | grayHighNibble(b))
                      : (uint8_t)((grayLowNibble(a) << 4) | grayLowNibble(b));
  }
}

void epd_render_gray4(const uint8_t *frame)
{
  wake();
  init_gray4();

  cmd(0x24);
  pack_plane(frame, false);
  data(s_plane, FRAME_1BPP);

  set_ram_area();
  cmd(0x26);
  pack_plane(frame, true);
  data(s_plane, FRAME_1BPP);

  CMD(0x22, 0xCF);  // greyscale update sequence
  cmd(0x20);
  wait_busy();
  epd_sleep();
}

// --- splash -------------------------------------------------------------------

#define SCALE 2
#define CHAR_W (6 * SCALE)
#define LINE_H (8 * SCALE + 6)

static void draw_char(int x0, int y0, char c)
{
  if (c < FONT5X7_FIRST || c > FONT5X7_LAST)
  {
    return;
  }
  const uint8_t *glyph = FONT5X7[c - FONT5X7_FIRST];
  for (int col = 0; col < 5; col++)
  {
    for (int row = 0; row < 7; row++)
    {
      if (!((glyph[col] >> row) & 1))
      {
        continue;
      }
      for (int dy = 0; dy < SCALE; dy++)
      {
        for (int dx = 0; dx < SCALE; dx++)
        {
          const int x = x0 + col * SCALE + dx;
          const int y = y0 + row * SCALE + dy;
          if (x >= 0 && x < PANEL_WIDTH && y >= 0 && y < PANEL_HEIGHT)
          {
            s_plane[y * (PANEL_WIDTH / 8) + x / 8] |= (uint8_t)(0x80 >> (x % 8));
          }
        }
      }
    }
  }
}

void epd_splash(const char *text)
{
  int lines = 1;
  for (const char *p = text; *p; p++)
  {
    lines += *p == '\n';
  }
  memset(s_plane, 0x00, FRAME_1BPP);  // 1 = ink, inverted by epd_render_1bpp

  int y = (PANEL_HEIGHT - lines * LINE_H) / 2;
  const char *line = text;
  while (true)
  {
    const char *end = strchr(line, '\n');
    const int len = end ? (int)(end - line) : (int)strlen(line);
    int x = (PANEL_WIDTH - len * CHAR_W) / 2;
    for (int i = 0; i < len; i++, x += CHAR_W)
    {
      draw_char(x, y, line[i]);
    }
    if (!end)
    {
      break;
    }
    line = end + 1;
    y += LINE_H;
  }
  epd_render_1bpp(s_plane, false);
}

// --- sleep ------------------------------------------------------------------

void epd_sleep(void)
{
  if (!s_awake)
  {
    return;
  }
  // Deep sleep, then the supply. Both refresh sequences above already end with
  // analog and clock off, so this is belt and braces before VCI goes.
  CMD(0x10, 0x01);
  k_msleep(100);
  power_off();
  s_awake = false;
}

// The regulator is boot-on, so the panel is powered while the SPI driver drives
// CS high at init; this is the first point that can release the lines and cut it.
int epd_init(void)
{
  if (!spi_is_ready_dt(&s_spi) || !device_is_ready(s_vcc) || !gpio_is_ready_dt(&s_dc) ||
      !gpio_is_ready_dt(&s_rst) || !gpio_is_ready_dt(&s_busy))
  {
    return -ENODEV;
  }
  power_off();
  return 0;
}
```

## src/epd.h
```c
// Everything that touches the panel: an SSD1683 over SPI, driven directly for
// both bit depths. The panel is unpowered except while it is being painted:
// every render powers it, paints, and cuts its supply again.

#pragma once

#include <stdbool.h>
#include <stdint.h>

#ifdef __cplusplus
extern "C" {
#endif

// Releases the lines and cuts the panel's supply. Returns a negative errno if
// the bus, a pin or the regulator is missing.
int epd_init(void);

// Paints a packed 1bpp full-panel frame (MSB first, 50 bytes per row).
// `inverted` selects the bit convention: false means a set bit is black.
void epd_render_1bpp(const uint8_t *frame, bool inverted);

// Paints a packed 2bpp frame, levels 0 white .. 3 black, 100 bytes per row.
// About four seconds: the greyscale waveform is longer than the monochrome one.
void epd_render_gray4(const uint8_t *frame);

// Blanks the panel to white.
void epd_clear(void);

// Centred multi-line text at 2x the 5x7 font; '\n' starts a new line.
void epd_splash(const char *text);

// Deep sleep and power off, if the panel was woken. The image is retained
// without power.
void epd_sleep(void);

#ifdef __cplusplus
}
#endif
```

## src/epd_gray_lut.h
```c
// The panel-specific part of 4-level greyscale: the waveform Waveshare ships
// for this panel and the plane packing that goes with it. Plain C on purpose:
// epd.c includes it, and so does the host-side test. Which plane takes
// which bit was settled by measurement (see README.md, "Grayscale"); do not
// change one side without the other.

#pragma once

#include <stdint.h>

// Greyscale waveform, from Waveshare's own epd4in2_V2 demo (LUT_ALL[233]).
// The first 227 bytes are the waveform itself; the tail carries the gate and
// source voltages and the VCOM that go with it. Loading this replaces the
// panel's built-in monochrome waveform, which is why greyscale has no
// temperature compensation.
static const uint8_t LUT_4GRAY[233] = {
    0x01, 0x0A, 0x1B, 0x0F, 0x03, 0x01, 0x01,
    0x05, 0x0A, 0x01, 0x0A, 0x01, 0x01, 0x01,
    0x05, 0x08, 0x03, 0x02, 0x04, 0x01, 0x01,
    0x01, 0x04, 0x04, 0x02, 0x00, 0x01, 0x01,
    0x01, 0x00, 0x00, 0x00, 0x00, 0x01, 0x01,
    0x01, 0x00, 0x00, 0x00, 0x00, 0x01, 0x01,
    0x01, 0x0A, 0x1B, 0x0F, 0x03, 0x01, 0x01,
    0x05, 0x4A, 0x01, 0x8A, 0x01, 0x01, 0x01,
    0x05, 0x48, 0x03, 0x82, 0x84, 0x01, 0x01,
    0x01, 0x84, 0x84, 0x82, 0x00, 0x01, 0x01,
    0x01, 0x00, 0x00, 0x00, 0x00, 0x01, 0x01,
    0x01, 0x00, 0x00, 0x00, 0x00, 0x01, 0x01,
    0x01, 0x0A, 0x1B, 0x8F, 0x03, 0x01, 0x01,
    0x05, 0x4A, 0x01, 0x8A, 0x01, 0x01, 0x01,
    0x05, 0x48, 0x83, 0x82, 0x04, 0x01, 0x01,
    0x01, 0x04, 0x04, 0x02, 0x00, 0x01, 0x01,
    0x01, 0x00, 0x00, 0x00, 0x00, 0x01, 0x01,
    0x01, 0x00, 0x00, 0x00, 0x00, 0x01, 0x01,
    0x01, 0x8A, 0x1B, 0x8F, 0x03, 0x01, 0x01,
    0x05, 0x4A, 0x01, 0x8A, 0x01, 0x01, 0x01,
    0x05, 0x48, 0x83, 0x02, 0x04, 0x01, 0x01,
    0x01, 0x04, 0x04, 0x02, 0x00, 0x01, 0x01,
    0x01, 0x00, 0x00, 0x00, 0x00, 0x01, 0x01,
    0x01, 0x00, 0x00, 0x00, 0x00, 0x01, 0x01,
    0x01, 0x8A, 0x9B, 0x8F, 0x03, 0x01, 0x01,
    0x05, 0x4A, 0x01, 0x8A, 0x01, 0x01, 0x01,
    0x05, 0x48, 0x03, 0x42, 0x04, 0x01, 0x01,
    0x01, 0x04, 0x04, 0x42, 0x00, 0x01, 0x01,
    0x01, 0x00, 0x00, 0x00, 0x00, 0x01, 0x01,
    0x01, 0x00, 0x00, 0x00, 0x00, 0x01, 0x01,
    0x00, 0x00, 0x00, 0x00, 0x00, 0x00, 0x00,
    0x00, 0x00, 0x00, 0x00, 0x00, 0x00, 0x00,
    0x02, 0x00, 0x00, 0x07, 0x17, 0x41, 0xA8,
    0x32, 0x30
};

// The controller wants the frame as two 1bpp planes: one holding the high bit
// of every pixel's level, one the low bit. Both take four pixels of a source
// byte down to a nibble, so two source bytes make one plane byte.
//
// Which plane takes which bit is the one thing Waveshare's own demos disagree
// about -- see the comment on pack_plane() in epd.c.
static inline uint8_t grayHighNibble(uint8_t src)
{
  return (uint8_t)(((src >> 4) & 8) | ((src >> 3) & 4) | ((src >> 2) & 2) | ((src >> 1) & 1));
}

static inline uint8_t grayLowNibble(uint8_t src)
{
  return (uint8_t)(((src >> 3) & 8) | ((src >> 2) & 4) | ((src >> 1) & 2) | (src & 1));
}
```

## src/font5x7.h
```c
// Classic 5x7 bitmap font, ASCII 32..126, taken from Adafruit GFX's glcdfont.c
// (BSD licence, Copyright (c) 2012 Adafruit Industries). One byte per column,
// bit 0 the top row. Only the splash uses it.

#pragma once

#include <stdint.h>

#define FONT5X7_FIRST 32
#define FONT5X7_LAST 126

static const uint8_t FONT5X7[95][5] = {
    {0x00, 0x00, 0x00, 0x00, 0x00},  // space
    {0x00, 0x00, 0x5F, 0x00, 0x00},  // '!'
    {0x00, 0x07, 0x00, 0x07, 0x00},  // '"'
    {0x14, 0x7F, 0x14, 0x7F, 0x14},  // '#'
    {0x24, 0x2A, 0x7F, 0x2A, 0x12},  // '$'
    {0x23, 0x13, 0x08, 0x64, 0x62},  // '%'
    {0x36, 0x49, 0x56, 0x20, 0x50},  // '&'
    {0x00, 0x08, 0x07, 0x03, 0x00},  // '''
    {0x00, 0x1C, 0x22, 0x41, 0x00},  // '('
    {0x00, 0x41, 0x22, 0x1C, 0x00},  // ')'
    {0x2A, 0x1C, 0x7F, 0x1C, 0x2A},  // '*'
    {0x08, 0x08, 0x3E, 0x08, 0x08},  // '+'
    {0x00, 0x80, 0x70, 0x30, 0x00},  // ','
    {0x08, 0x08, 0x08, 0x08, 0x08},  // '-'
    {0x00, 0x00, 0x60, 0x60, 0x00},  // '.'
    {0x20, 0x10, 0x08, 0x04, 0x02},  // '/'
    {0x3E, 0x51, 0x49, 0x45, 0x3E},  // '0'
    {0x00, 0x42, 0x7F, 0x40, 0x00},  // '1'
    {0x72, 0x49, 0x49, 0x49, 0x46},  // '2'
    {0x21, 0x41, 0x49, 0x4D, 0x33},  // '3'
    {0x18, 0x14, 0x12, 0x7F, 0x10},  // '4'
    {0x27, 0x45, 0x45, 0x45, 0x39},  // '5'
    {0x3C, 0x4A, 0x49, 0x49, 0x31},  // '6'
    {0x41, 0x21, 0x11, 0x09, 0x07},  // '7'
    {0x36, 0x49, 0x49, 0x49, 0x36},  // '8'
    {0x46, 0x49, 0x49, 0x29, 0x1E},  // '9'
    {0x00, 0x00, 0x14, 0x00, 0x00},  // ':'
    {0x00, 0x40, 0x34, 0x00, 0x00},  // ';'
    {0x00, 0x08, 0x14, 0x22, 0x41},  // '<'
    {0x14, 0x14, 0x14, 0x14, 0x14},  // '='
    {0x00, 0x41, 0x22, 0x14, 0x08},  // '>'
    {0x02, 0x01, 0x59, 0x09, 0x06},  // '?'
    {0x3E, 0x41, 0x5D, 0x59, 0x4E},  // '@'
    {0x7C, 0x12, 0x11, 0x12, 0x7C},  // 'A'
    {0x7F, 0x49, 0x49, 0x49, 0x36},  // 'B'
    {0x3E, 0x41, 0x41, 0x41, 0x22},  // 'C'
    {0x7F, 0x41, 0x41, 0x41, 0x3E},  // 'D'
    {0x7F, 0x49, 0x49, 0x49, 0x41},  // 'E'
    {0x7F, 0x09, 0x09, 0x09, 0x01},  // 'F'
    {0x3E, 0x41, 0x41, 0x51, 0x73},  // 'G'
    {0x7F, 0x08, 0x08, 0x08, 0x7F},  // 'H'
    {0x00, 0x41, 0x7F, 0x41, 0x00},  // 'I'
    {0x20, 0x40, 0x41, 0x3F, 0x01},  // 'J'
    {0x7F, 0x08, 0x14, 0x22, 0x41},  // 'K'
    {0x7F, 0x40, 0x40, 0x40, 0x40},  // 'L'
    {0x7F, 0x02, 0x1C, 0x02, 0x7F},  // 'M'
    {0x7F, 0x04, 0x08, 0x10, 0x7F},  // 'N'
    {0x3E, 0x41, 0x41, 0x41, 0x3E},  // 'O'
    {0x7F, 0x09, 0x09, 0x09, 0x06},  // 'P'
    {0x3E, 0x41, 0x51, 0x21, 0x5E},  // 'Q'
    {0x7F, 0x09, 0x19, 0x29, 0x46},  // 'R'
    {0x26, 0x49, 0x49, 0x49, 0x32},  // 'S'
    {0x03, 0x01, 0x7F, 0x01, 0x03},  // 'T'
    {0x3F, 0x40, 0x40, 0x40, 0x3F},  // 'U'
    {0x1F, 0x20, 0x40, 0x20, 0x1F},  // 'V'
    {0x3F, 0x40, 0x38, 0x40, 0x3F},  // 'W'
    {0x63, 0x14, 0x08, 0x14, 0x63},  // 'X'
    {0x03, 0x04, 0x78, 0x04, 0x03},  // 'Y'
    {0x61, 0x59, 0x49, 0x4D, 0x43},  // 'Z'
    {0x00, 0x7F, 0x41, 0x41, 0x41},  // '['
    {0x02, 0x04, 0x08, 0x10, 0x20},  // '\'
    {0x00, 0x41, 0x41, 0x41, 0x7F},  // ']'
    {0x04, 0x02, 0x01, 0x02, 0x04},  // '^'
    {0x40, 0x40, 0x40, 0x40, 0x40},  // '_'
    {0x00, 0x03, 0x07, 0x08, 0x00},  // '`'
    {0x20, 0x54, 0x54, 0x78, 0x40},  // 'a'
    {0x7F, 0x28, 0x44, 0x44, 0x38},  // 'b'
    {0x38, 0x44, 0x44, 0x44, 0x28},  // 'c'
    {0x38, 0x44, 0x44, 0x28, 0x7F},  // 'd'
    {0x38, 0x54, 0x54, 0x54, 0x18},  // 'e'
    {0x00, 0x08, 0x7E, 0x09, 0x02},  // 'f'
    {0x18, 0xA4, 0xA4, 0x9C, 0x78},  // 'g'
    {0x7F, 0x08, 0x04, 0x04, 0x78},  // 'h'
    {0x00, 0x44, 0x7D, 0x40, 0x00},  // 'i'
    {0x20, 0x40, 0x40, 0x3D, 0x00},  // 'j'
    {0x7F, 0x10, 0x28, 0x44, 0x00},  // 'k'
    {0x00, 0x41, 0x7F, 0x40, 0x00},  // 'l'
    {0x7C, 0x04, 0x78, 0x04, 0x78},  // 'm'
    {0x7C, 0x08, 0x04, 0x04, 0x78},  // 'n'
    {0x38, 0x44, 0x44, 0x44, 0x38},  // 'o'
    {0xFC, 0x18, 0x24, 0x24, 0x18},  // 'p'
    {0x18, 0x24, 0x24, 0x18, 0xFC},  // 'q'
    {0x7C, 0x08, 0x04, 0x04, 0x08},  // 'r'
    {0x48, 0x54, 0x54, 0x54, 0x24},  // 's'
    {0x04, 0x04, 0x3F, 0x44, 0x24},  // 't'
    {0x3C, 0x40, 0x40, 0x20, 0x7C},  // 'u'
    {0x1C, 0x20, 0x40, 0x20, 0x1C},  // 'v'
    {0x3C, 0x40, 0x30, 0x40, 0x3C},  // 'w'
    {0x44, 0x28, 0x10, 0x28, 0x44},  // 'x'
    {0x4C, 0x90, 0x90, 0x90, 0x7C},  // 'y'
    {0x44, 0x64, 0x54, 0x4C, 0x44},  // 'z'
    {0x00, 0x08, 0x36, 0x41, 0x00},  // '{'
    {0x00, 0x00, 0x77, 0x00, 0x00},  // '|'
    {0x00, 0x41, 0x36, 0x08, 0x00},  // '}'
    {0x02, 0x01, 0x02, 0x04, 0x02},  // '~'
};
```
